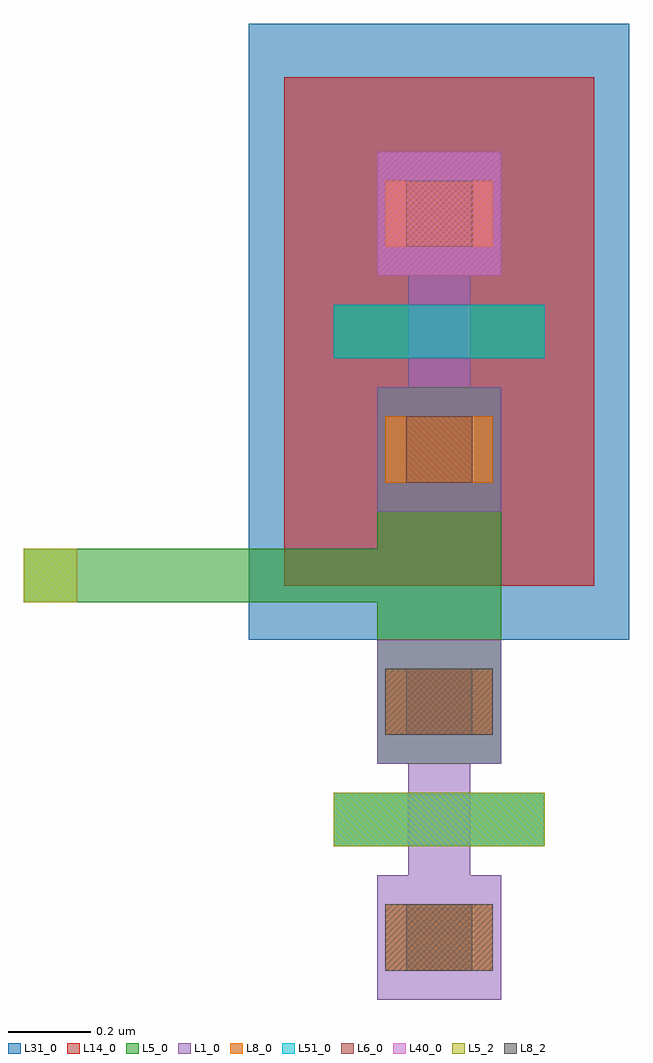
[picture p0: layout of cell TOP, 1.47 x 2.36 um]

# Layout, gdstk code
from math import pi, radians
import gdstk
lib = gdstk.Library(unit=1e-6, precision=5e-09)
def R(c, l, rs):  # rectangles x0, y0, x1, y1
    for r in rs: c.add(gdstk.rectangle(r[:2], r[2:], *l))
def P(c, l, *ps):  # polygons
    for p in ps: c.add(gdstk.Polygon(p, *l))
L1_0 = (1, 0)
L5_0 = (5, 0)
L5_2 = (5, 2)
L6_0 = (6, 0)
L8_0 = (8, 0)
L8_2 = (8, 2)
L14_0 = (14, 0)
L31_0 = (31, 0)
L40_0 = (40, 0)
L51_0 = (51, 0)

pmos = lib.new_cell('pmos')
R(pmos, L1_0, [(0,0,0.3,0.3), (0.57,0,0.87,0.3), (0,0.075,0.87,0.225)])
R(pmos, L5_0, [(0.37,-0.105,0.5,0.405), (0.37,-0.105,0.5,0.405)])
R(pmos, L6_0, [(0.07,0.07,0.23,0.23), (0.64,0.07,0.8,0.23)])
R(pmos, L8_0, [(0.07,0.02,0.23,0.28), (0.07,0.02,0.23,0.28), (0.64,0.02,0.8,0.28), (0.64,0.02,0.8,0.28)])
R(pmos, L14_0, [(-0.18,-0.225,1.05,0.525)])
R(pmos, L31_0, [(-0.31,-0.31,1.18,0.61)])
R(pmos, L40_0, [(0.57,0,0.87,0.3)])
R(pmos, L51_0, [(0.37,-0.105,0.5,0.405)])
pmos.add(gdstk.Label('pmos', (0.435,0.15), layer=63, texttype=0))
pmos.add(gdstk.Label('pmos', (0.435,0.15), layer=51, texttype=0))

nmos = lib.new_cell('nmos')
R(nmos, L1_0, [(0,0,0.3,0.3), (0.57,0,0.87,0.3), (0,0.075,0.87,0.225)])
R(nmos, L5_0, [(0.37,-0.105,0.5,0.405)])
R(nmos, L5_2, [(0.37,-0.105,0.5,0.405)])
R(nmos, L6_0, [(0.07,0.07,0.23,0.23), (0.64,0.07,0.8,0.23)])
R(nmos, L8_0, [(0.07,0.02,0.23,0.28), (0.64,0.02,0.8,0.28)])
R(nmos, L8_2, [(0.07,0.02,0.23,0.28), (0.64,0.02,0.8,0.28)])
R(nmos, L51_0, [(0.37,-0.105,0.5,0.405)])
nmos.add(gdstk.Label('nmos', (0.435,0.15), layer=63, texttype=0))
nmos.add(gdstk.Label('nmos', (0.435,0.15), layer=51, texttype=0))

top = lib.new_cell('TOP')
R(top, L5_0, [(-1.265,0.03,-0.965,0.94), (-2.12,0.42,-0.965,0.55)])
P(top, L5_0, [(-2.12,0.42),(-2.12,0.42),(-0.965,0.42),(-0.965,0.42)])
R(top, L5_2, [(-2.12,0.42,-1.99,0.55)])
top.add(gdstk.Reference(pmos, (-0.965,0.64), rotation=pi/2))
top.add(gdstk.Reference(nmos, (-0.965,-0.54), rotation=pi/2))
top.add(gdstk.Label('pin_name', (-2.225,0.5), layer=5, texttype=1))

lib.write_gds('TOP.gds')
